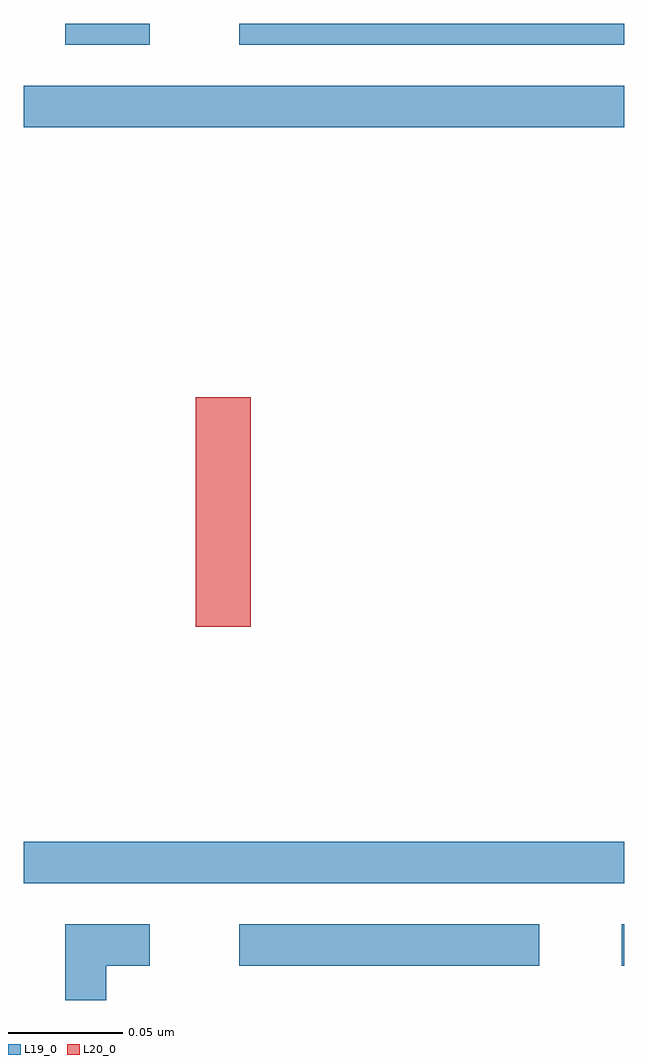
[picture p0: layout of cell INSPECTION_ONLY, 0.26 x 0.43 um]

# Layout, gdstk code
import gdstk
lib = gdstk.Library(unit=1e-6, precision=2.5e-10)
def R(c, l, rs):  # rectangles x0, y0, x1, y1
    for r in rs: c.add(gdstk.rectangle(r[:2], r[2:], *l))
def P(c, l, *ps):  # polygons
    for p in ps: c.add(gdstk.Polygon(p, *l))
L19_0 = (19, 0)
L20_0 = (20, 0)

inspection_only = lib.new_cell('INSPECTION_ONLY')
R(inspection_only, L19_0, [(6.094,0.225,6.225,0.243), (6.261,0.225,6.262,0.243), (6,0.261,6.262,0.279), (6,0.591,6.262,0.609), (6.018,0.627,6.055,0.636), (6.094,0.627,6.262,0.636)])
P(inspection_only, L19_0, [(6.018,0.21),(6.018,0.243),(6.055,0.243),(6.055,0.225),(6.036,0.225),(6.036,0.21)])
R(inspection_only, L20_0, [(6.075,0.373,6.099,0.473)])

lib.write_gds('INSPECTION_ONLY.gds')
